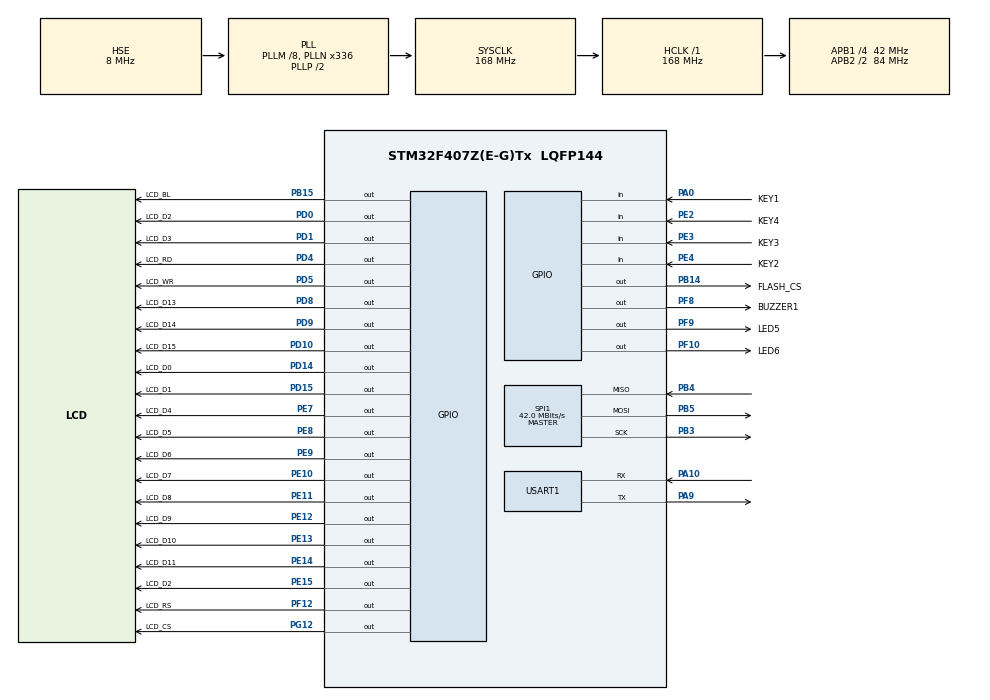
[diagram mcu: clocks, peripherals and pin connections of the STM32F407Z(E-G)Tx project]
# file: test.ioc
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IWDG.Prescaler=IWDG_PRESCALER_256
IWDG.Reload=125
Mcu.Family=STM32F4
Mcu.Name=STM32F407Z(E-G)Tx
Mcu.Package=LQFP144
NVIC.PriorityGroup=NVIC_PRIORITYGROUP_4
NVIC.RTC_Alarm_IRQn=true\:0\:0\:false\:false\:true
NVIC.RTC_WKUP_IRQn=true\:0\:0\:false\:false\:true
NVIC.USART1_IRQn=true\:0\:0\:false\:false\:true
PA0-WKUP.GPIO_Label=KEY1
PA0-WKUP.Signal=GPIO_Input
PA10.GPIO_Speed=GPIO_SPEED_FREQ_LOW
PA10.Mode=Asynchronous
PA10.Signal=USART1_RX
PA9.GPIO_Speed=GPIO_SPEED_FREQ_LOW
PA9.Mode=Asynchronous
PA9.Signal=USART1_TX
PB14.GPIO_Label=FLASH_CS
PB14.GPIO_Speed=GPIO_SPEED_FREQ_VERY_HIGH
PB14.Signal=GPIO_Output
PB15.GPIO_Label=LCD_BL
PB15.Signal=GPIO_Output
PB3.Mode=Full_Duplex_Master
PB3.Signal=SPI1_SCK
PB4.Mode=Full_Duplex_Master
PB4.Signal=SPI1_MISO
PB5.Mode=Full_Duplex_Master
PB5.Signal=SPI1_MOSI
PC14-OSC32_IN.Mode=LSE-External-Oscillator
PC14-OSC32_IN.Signal=RCC_OSC32_IN
PC15-OSC32_OUT.Mode=LSE-External-Oscillator
PC15-OSC32_OUT.Signal=RCC_OSC32_OUT
PD0.GPIO_Label=LCD_D2
PD0.GPIO_Speed=GPIO_SPEED_FREQ_VERY_HIGH
PD0.Signal=GPIO_Output
PD1.GPIO_Label=LCD_D3
PD1.GPIO_Speed=GPIO_SPEED_FREQ_VERY_HIGH
PD1.Signal=GPIO_Output
PD10.GPIO_Label=LCD_D15
PD10.GPIO_Speed=GPIO_SPEED_FREQ_VERY_HIGH
PD10.Signal=GPIO_Output
PD14.GPIO_Label=LCD_D0
PD14.GPIO_Speed=GPIO_SPEED_FREQ_VERY_HIGH
PD14.Signal=GPIO_Output
PD15.GPIO_Label=LCD_D1
PD15.GPIO_Speed=GPIO_SPEED_FREQ_VERY_HIGH
PD15.Signal=GPIO_Output
PD4.GPIO_Label=LCD_RD
PD4.GPIO_Speed=GPIO_SPEED_FREQ_VERY_HIGH
PD4.Signal=GPIO_Output
PD5.GPIO_Label=LCD_WR
PD5.GPIO_Speed=GPIO_SPEED_FREQ_VERY_HIGH
PD5.Signal=GPIO_Output
PD8.GPIO_Label=LCD_D13
PD8.GPIO_Speed=GPIO_SPEED_FREQ_VERY_HIGH
PD8.Signal=GPIO_Output
PD9.GPIO_Label=LCD_D14
PD9.GPIO_Speed=GPIO_SPEED_FREQ_VERY_HIGH
PD9.Signal=GPIO_Output
PE10.GPIO_Label=LCD_D7
PE10.GPIO_Speed=GPIO_SPEED_FREQ_VERY_HIGH
PE10.Signal=GPIO_Output
PE11.GPIO_Label=LCD_D8
PE11.GPIO_Speed=GPIO_SPEED_FREQ_VERY_HIGH
PE11.Signal=GPIO_Output
PE12.GPIO_Label=LCD_D9
PE12.GPIO_Speed=GPIO_SPEED_FREQ_VERY_HIGH
PE12.Signal=GPIO_Output
PE13.GPIO_Label=LCD_D10
PE13.GPIO_Speed=GPIO_SPEED_FREQ_VERY_HIGH
PE13.Signal=GPIO_Output
PE14.GPIO_Label=LCD_D11
PE14.GPIO_Speed=GPIO_SPEED_FREQ_VERY_HIGH
PE14.Signal=GPIO_Output
PE15.GPIO_Label=LCD_D2
PE15.GPIO_Speed=GPIO_SPEED_FREQ_VERY_HIGH
PE15.Signal=GPIO_Output
PE2.GPIO_Label=KEY4
PE2.Signal=GPIO_Input
PE3.GPIO_Label=KEY3
PE3.Signal=GPIO_Input
PE4.GPIO_Label=KEY2
PE4.Signal=GPIO_Input
PE7.GPIO_Label=LCD_D4
PE7.GPIO_Speed=GPIO_SPEED_FREQ_VERY_HIGH
PE7.Signal=GPIO_Output
PE8.GPIO_Label=LCD_D5
PE8.GPIO_Speed=GPIO_SPEED_FREQ_VERY_HIGH
PE8.Signal=GPIO_Output
PE9.GPIO_Label=LCD_D6
PE9.GPIO_Speed=GPIO_SPEED_FREQ_VERY_HIGH
PE9.Signal=GPIO_Output
PF10.GPIO_Label=LED6
PF10.PinState=GPIO_PIN_SET
PF10.Signal=GPIO_Output
PF12.GPIO_Label=LCD_RS
PF12.GPIO_Speed=GPIO_SPEED_FREQ_VERY_HIGH
PF12.Signal=GPIO_Output
PF8.GPIO_Label=BUZZER1
PF8.PinState=GPIO_PIN_RESET
PF8.Signal=GPIO_Output
PF9.GPIO_Label=LED5
PF9.PinState=GPIO_PIN_SET
PF9.Signal=GPIO_Output
PG12.GPIO_Label=LCD_CS
PG12.GPIO_Speed=GPIO_SPEED_FREQ_VERY_HIGH
PG12.Signal=GPIO_Output
PH0-OSC_IN.Mode=HSE-External-Oscillator
PH0-OSC_IN.Signal=RCC_OSC_IN
PH1-OSC_OUT.Mode=HSE-External-Oscillator
PH1-OSC_OUT.Signal=RCC_OSC_OUT
ProjectManager.HeapSize=0x200
ProjectManager.StackSize=0x400
ProjectManager.TargetToolchain=MDK-ARM V5
RCC.48MHZClocksFreq_Value=84000000
RCC.AHBFreq_Value=168000000
RCC.APB1CLKDivider=RCC_HCLK_DIV4
RCC.APB1Freq_Value=42000000
RCC.APB1TimFreq_Value=84000000
RCC.APB2CLKDivider=RCC_HCLK_DIV2
RCC.APB2Freq_Value=84000000
RCC.APB2TimFreq_Value=168000000
RCC.CortexFreq_Value=21000000
RCC.Cortex_Div=SYSTICK_CLKSOURCE_HCLK_DIV8
RCC.FLatency=FLASH_LATENCY_5
RCC.HCLKFreq_Value=168000000
RCC.HSE_VALUE=8000000
RCC.HSI_VALUE=16000000
RCC.PLLM=8
RCC.PLLN=336
RCC.PLLSourceVirtual=RCC_PLLSOURCE_HSE
RCC.RCC_RTC_Clock_Source=RCC_RTCCLKSOURCE_LSE
RCC.RCC_RTC_Clock_SourceVirtual=RCC_RTCCLKSOURCE_LSE
RCC.SYSCLKFreq_VALUE=168000000
RCC.SYSCLKSource=RCC_SYSCLKSOURCE_PLLCLK
RCC.VCOOutputFreq_Value=336000000
RTC.AlarmDateWeekDaySel=RTC_ALARMDATEWEEKDAYSEL_DATE
RTC.Date=18
RTC.Hours=10
RTC.Hours_A=12
RTC.Minutes=55
RTC.Month=RTC_MONTH_DECEMBER
RTC.WakeUpClock=RTC_WAKEUPCLOCK_CK_SPRE_16BITS
RTC.WeekDay=RTC_WEEKDAY_SUNDAY
RTC.Year=16
SPI1.BaudRatePrescaler=SPI_BAUDRATEPRESCALER_2
SPI1.CRCCalculation=SPI_CRCCALCULATION_DISABLE
SPI1.CalculateBaudRate=42.0 MBits/s
SPI1.Mode=SPI_MODE_MASTER
VP_IWDG_VS_IWDG.Mode=IWDG_Activate
VP_RTC_VS_RTC_Activate.Mode=RTC_Enabled
VP_RTC_VS_RTC_Alarm_A_Intern.Mode=Alarm A
VP_RTC_VS_RTC_Calendar.Mode=RTC_Calendar
VP_RTC_VS_RTC_WakeUp_intern.Mode=WakeUp
board=test

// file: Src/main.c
/**
  ******************************************************************************
  * File Name          : main.c
  * Description        : Main program body
  ******************************************************************************
  *
  * COPYRIGHT(c) 2016 STMicroelectronics
  *
  * Redistribution and use in source and binary forms, with or without modification,
  * are permitted provided that the following conditions are met:
  *   1. Redistributions of source code must retain the above copyright notice,
  *      this list of conditions and the following disclaimer.
  *   2. Redistributions in binary form must reproduce the above copyright notice,
  *      this list of conditions and the following disclaimer in the documentation
  *      and/or other materials provided with the distribution.
  *   3. Neither the name of STMicroelectronics nor the names of its contributors
  *      may be used to endorse or promote products derived from this software
  *      without specific prior written permission.
  *
  * THIS SOFTWARE IS PROVIDED BY THE COPYRIGHT HOLDERS AND CONTRIBUTORS "AS IS"
  * AND ANY EXPRESS OR IMPLIED WARRANTIES, INCLUDING, BUT NOT LIMITED TO, THE
  * IMPLIED WARRANTIES OF MERCHANTABILITY AND FITNESS FOR A PARTICULAR PURPOSE ARE
  * DISCLAIMED. IN NO EVENT SHALL THE COPYRIGHT HOLDER OR CONTRIBUTORS BE LIABLE
  * FOR ANY DIRECT, INDIRECT, INCIDENTAL, SPECIAL, EXEMPLARY, OR CONSEQUENTIAL
  * DAMAGES (INCLUDING, BUT NOT LIMITED TO, PROCUREMENT OF SUBSTITUTE GOODS OR
  * SERVICES; LOSS OF USE, DATA, OR PROFITS; OR BUSINESS INTERRUPTION) HOWEVER
  * CAUSED AND ON ANY THEORY OF LIABILITY, WHETHER IN CONTRACT, STRICT LIABILITY,
  * OR TORT (INCLUDING NEGLIGENCE OR OTHERWISE) ARISING IN ANY WAY OUT OF THE USE
  * OF THIS SOFTWARE, EVEN IF ADVISED OF THE POSSIBILITY OF SUCH DAMAGE.
  *
  ******************************************************************************
  */
#include "main.h"
#include "stm32f4xx_hal.h"
#include "iwdg.h"
#include "rtc.h"
#include "spi.h"
#include "usart.h"
#include "gpio.h"

/* USER CODE BEGIN Includes */
/*****************************************************************************
@File name:
@Description:
	- 加入RTC实时时钟功能,将时间显示到LCD屏上
	- 控制ILI9341驱动的2.8寸显示屏，在屏幕上显示ascii字符和汉字(数组方式存储).
	- spi读取W25Q64的id信息, 通过串口打印出来
	- uart1用中断方式接收数据,再发回给pc
@Hardware:
@Author: Harry Wu
@Version: V1.0
@Date: 2016-12-19
@History:
		V1.0: - 加上独立看门狗,由STM32CubeMX直接生成一个1s超时的看门狗.
		- RTC部分的程序移植自"ex8-1 - RTC\". RTC时间显示正常, 但是按键识别有问题,
		while(1)循环中有delay,暂时不处理. 闹钟已经开启并显示在了在屏幕上,但是没有清晰
		的显示是按天还是按周.

*****************************************************************************/
#include "MyTypeDef.h"
#include "key.h"
#include "led.h"
#include "usart.h"
#include "flash.h"
#include "stdio.h"
#include "string.h"
#include "lcd.h"
#include "delay.h"
/* USER CODE END Includes */

/* USER CODE BEGIN PV */
/* Private variables ---------------------------------------------------------*/

/* USER CODE END PV */

void SystemClock_Config(void);
void Error_Handler(void);

/* USER CODE BEGIN PFP */
/* Private function prototypes -----------------------------------------------*/

/* USER CODE END PFP */

int main(void)
{

  /* USER CODE BEGIN 1 */
	u8 key;
	u16 times=0;
	u8 *p="hello world!!! Harry\r\n";
	u8 buf[100];

	u8 t;
	u8 tbuf[40];

//	u8 len;  //获取接收到的字节数
//	#define USART_REC_LEN  			200  	//定义最大接收字节数 200
//	u8 rec_data_buf[USART_REC_LEN];
	//u8 buff[10];
	//硬件初始化
  /* USER CODE END 1 */

  /* MCU Configuration----------------------------------------------------------*/

  /* Reset of all peripherals, Initializes the Flash interface and the Systick. */
  HAL_Init();

  /* Configure the system clock */
  SystemClock_Config();

  /* Initialize all configured peripherals */
  MX_GPIO_Init();
  MX_USART1_UART_Init();
  MX_SPI1_Init();
  MX_RTC_Init();
  MX_IWDG_Init();

  /* USER CODE BEGIN 2 */
	delay_init(21);  //确定systime timer的时钟,单位MHz

	__HAL_SPI_ENABLE(&hspi1);

  HAL_UART_Receive_IT(&huart1, (u8 *)aRxBuffer, RXBUFFERSIZE);

  SPI_Flash_Init();
	lcd_init();

  SPI_Flash_Write((u8 *)p,0x100,strlen(p)+1);
  SPI_Flash_Read(buf,0x100,strlen(p)+1);

	Draw_Circle(120,160,100);
	LCD_DrawLine(0,0,239,319);
	LCD_DrawRectangle(10,10,60,60);
	LCD_DrawSolidRectangle(10, 10, 230, 60, RED);
	Draw_SolidCircle(120,160,50);

	show_ascii(100, 10, 's', 1);
	HAL_Delay(100);
	show_ascii(108, 10, 'o', 1);
	HAL_Delay(100);
	show_ascii(116, 10, 'l', 1);
	HAL_Delay(100);
	show_ascii(124, 10, 'v', 1);
	HAL_Delay(100);
	show_ascii(132, 10, 'e', 1);
	HAL_IWDG_Refresh(&hiwdg);
	show_ascii(100, 30, 'L', 0);
	HAL_Delay(100);
	show_ascii(108, 30, 'O', 0);
	HAL_Delay(100);
	show_ascii(116, 30, 'V', 0);
	HAL_Delay(100);
	show_ascii(124, 30, 'E', 0);
	HAL_Delay(100);
	show_ascii(132, 30, '!', 0);
	HAL_IWDG_Refresh(&hiwdg);
	HAL_Delay(500);
	HAL_IWDG_Refresh(&hiwdg);
	BACK_COLOR = GREEN;
	LCD_ShowString(80,160,"hello, how are you?",0);

	LCD_Show_CH(80, 160+16, 0, 0);
	LCD_Show_CH(80+16, 160+16, 1, 0);
	LCD_Show_CH(80+32, 160+16, 2, 0);
	HAL_Delay(500);
	LCD_ShowPic(0, 0, (u8 *)gImage_Betty2014);

	printf("0x%x\r\n",SPI_FLASH_TYPE);
	printf("%s",buf);
	//HAL_Delay(500);
  /* USER CODE END 2 */

  /* Infinite loop */
  /* USER CODE BEGIN WHILE */
  while (1)
  {
	key = key_scanf();
	if(key == KEY1_OK) LED5 = !LED5;
	else if(key == KEY2_OK) LED6 = !LED6;
	else if(key == KEY3_OK) BUZZER1 = !BUZZER1;

	if(t!=RTC_TimeStruct.Seconds)
		{
			t=RTC_TimeStruct.Seconds;
			//RTC_Get_Time(&hour,&min,&sec,&ampm);
			//sprintf((char*)tbuf,"Time:%02d:%02d:%02d",time_date.hour,time_date.min,time_date.sec);
			sprintf((char*)tbuf,"Time:%02d:%02d:%02d",RTC_TimeStruct.Hours,RTC_TimeStruct.Minutes,RTC_TimeStruct.Seconds);
			LCD_ShowString(30,140,tbuf,0);
			//RTC_Get_Date(&year,&month,&date,&week);
			//sprintf((char*)tbuf,"Date:20%02d-%02d-%02d",time_date.year,time_date.month,time_date.date);
			sprintf((char*)tbuf,"Date:20%02d-%02d-%02d",RTC_DateStruct.Year,RTC_DateStruct.Month,RTC_DateStruct.Date);
			LCD_ShowString(30,160,tbuf,0);
			//sprintf((char*)tbuf,"Week:%d",time_date.week);
			sprintf((char*)tbuf,"Week:%d",RTC_DateStruct.WeekDay);
			LCD_ShowString(30,180,tbuf,0);

			sprintf((char*)tbuf,"AlarmA:%02d:%02d:%02d",RTC_AlarmStruct.AlarmTime.Hours,RTC_AlarmStruct.AlarmTime.Minutes,RTC_AlarmStruct.AlarmTime.Seconds);
			LCD_ShowString(30,200,tbuf,0);
			sprintf((char*)tbuf,"Week/Day:%d",RTC_AlarmStruct.AlarmDateWeekDay);
			LCD_ShowString(30,220,tbuf,0);

		}
		HAL_IWDG_Refresh(&hiwdg);

    if(USART_RX_STA&(0x01<<15))  //如果接收完成
	{
//			len=USART_RX_STA&0x3fff;//得到此次接收到的数据长度
//			printf("\r\n您发送的消息为:\r\n");
//			HAL_UART_Transmit(&huart1,rec_data_buf,len,1000);	//发送接收到的数据
//			while(__HAL_UART_GET_FLAG(&huart1,UART_FLAG_TC)!=SET);		//等待发送结束
//			printf("\r\n\r\n");//插入换行
//			USART_RX_STA=0;
	}
	//如果接收没完成,接收完成了时候需要发送数据会上位机,所以下面的任务在没完成时处理比较好
	else
	{
		times++;  //time++很慢，后面都基本很长时间才能看到
		if(times%100==0)
		{
			printf("\r\n等的牙都长了\r\n");
			//printf("正点原子@ALIENTEK\r\n\r\n\r\n");
		}
		if(times%4==0)printf("请输入数据,以回车键结束\r\n");
		if(times%2==0)LED5=!LED5;//闪烁LED,提示系统正在运行.
		HAL_Delay(500);
	}
	//delay_ms(500); //1s以内需喂狗,如果加上这个延时whil(1)循环就会超过1s,从而导致喂狗不及时
  /* USER CODE END WHILE */

  }

}

/** System Clock Configuration
*/
void SystemClock_Config(void)
{

  RCC_OscInitTypeDef RCC_OscInitStruct;
  RCC_ClkInitTypeDef RCC_ClkInitStruct;
  RCC_PeriphCLKInitTypeDef PeriphClkInitStruct;

    /**Configure the main internal regulator output voltage
    */
  __HAL_RCC_PWR_CLK_ENABLE();

  __HAL_PWR_VOLTAGESCALING_CONFIG(PWR_REGULATOR_VOLTAGE_SCALE1);

    /**Initializes the CPU, AHB and APB busses clocks
    */
  RCC_OscInitStruct.OscillatorType = RCC_OSCILLATORTYPE_LSI|RCC_OSCILLATORTYPE_HSE
                              |RCC_OSCILLATORTYPE_LSE;
  RCC_OscInitStruct.HSEState = RCC_HSE_ON;
  RCC_OscInitStruct.LSEState = RCC_LSE_ON;
  RCC_OscInitStruct.LSIState = RCC_LSI_ON;
  RCC_OscInitStruct.PLL.PLLState = RCC_PLL_ON;
  RCC_OscInitStruct.PLL.PLLSource = RCC_PLLSOURCE_HSE;
  RCC_OscInitStruct.PLL.PLLM = 8;
  RCC_OscInitStruct.PLL.PLLN = 336;
  RCC_OscInitStruct.PLL.PLLP = RCC_PLLP_DIV2;
  RCC_OscInitStruct.PLL.PLLQ = 4;
  if (HAL_RCC_OscConfig(&RCC_OscInitStruct) != HAL_OK)
  {
    Error_Handler();
  }

    /**Initializes the CPU, AHB and APB busses clocks
    */
  RCC_ClkInitStruct.ClockType = RCC_CLOCKTYPE_HCLK|RCC_CLOCKTYPE_SYSCLK
                              |RCC_CLOCKTYPE_PCLK1|RCC_CLOCKTYPE_PCLK2;
  RCC_ClkInitStruct.SYSCLKSource = RCC_SYSCLKSOURCE_PLLCLK;
  RCC_ClkInitStruct.AHBCLKDivider = RCC_SYSCLK_DIV1;
  RCC_ClkInitStruct.APB1CLKDivider = RCC_HCLK_DIV4;
  RCC_ClkInitStruct.APB2CLKDivider = RCC_HCLK_DIV2;

  if (HAL_RCC_ClockConfig(&RCC_ClkInitStruct, FLASH_LATENCY_5) != HAL_OK)
  {
    Error_Handler();
  }

  PeriphClkInitStruct.PeriphClockSelection = RCC_PERIPHCLK_RTC;
  PeriphClkInitStruct.RTCClockSelection = RCC_RTCCLKSOURCE_LSE;
  if (HAL_RCCEx_PeriphCLKConfig(&PeriphClkInitStruct) != HAL_OK)
  {
    Error_Handler();
  }

    /**Configure the Systick interrupt time
    */
  HAL_SYSTICK_Config(HAL_RCC_GetHCLKFreq()/8000);

    /**Configure the Systick
    */
  HAL_SYSTICK_CLKSourceConfig(SYSTICK_CLKSOURCE_HCLK_DIV8);

  /* SysTick_IRQn interrupt configuration */
  HAL_NVIC_SetPriority(SysTick_IRQn, 0, 0);
}

void Error_Handler(void)
{
  while(1)
  {
  }
}

/************************ (C) COPYRIGHT STMicroelectronics *****END OF FILE****/
